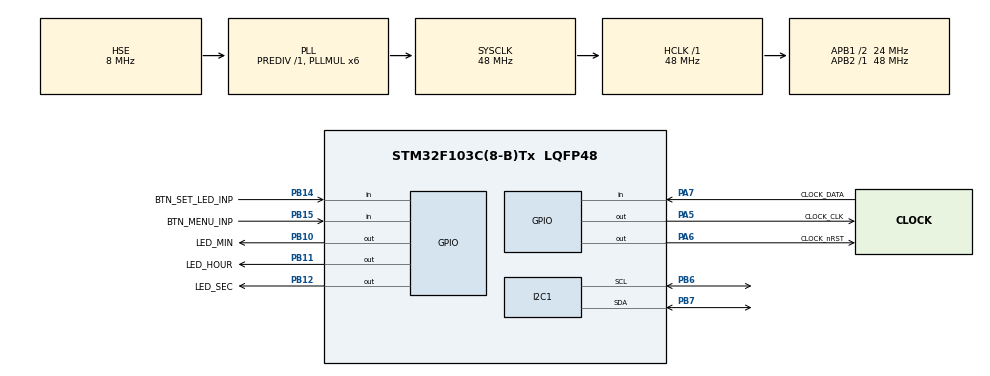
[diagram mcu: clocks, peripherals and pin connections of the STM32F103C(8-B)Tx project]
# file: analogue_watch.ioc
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FREERTOS.BinarySemaphores01=LedsSem,Dynamic,NULL
FREERTOS.Events01=SaveEvent,Dynamic,NULL
FREERTOS.Mutexes01=ClockDataMutex,Dynamic,NULL
FREERTOS.Tasks01=defaultTask,24,128,StartDefaultTask,Default,NULL,Dynamic,NULL,NULL;ClockDealer,9,128,ClockTask,Default,NULL,Static,ClockDealerBuffer,ClockDealerControlBlock;DacDealer,8,128,DacTask,Default,NULL,Static,DacDealerBuffer,DacDealerControlBlock;BtnHandler,8,128,BtnTask,Default,NULL,Static,BtnHandlerBuffer,BtnHandlerControlBlock;LedDealer,8,128,LedTask,Default,NULL,Static,LedDealerBuffer,LedDealerControlBlock;MainTaskName,8,128,MainTask,Default,NULL,Static,MainTaskNameBuffer,MainTaskNameControlBlock
FREERTOS.configMAX_TASK_NAME_LEN=18
FREERTOS.configTOTAL_HEAP_SIZE=5000
FREERTOS.configUSE_NEWLIB_REENTRANT=1
FREERTOS.configUSE_PREEMPTION=1
Mcu.Family=STM32F1
Mcu.Name=STM32F103C(8-B)Tx
Mcu.Package=LQFP48
NVIC.PriorityGroup=NVIC_PRIORITYGROUP_4
NVIC.TIM1_UP_IRQn=true\:15\:0\:false\:false\:true\:false\:false\:true\:true
NVIC.TimeBase=TIM1_UP_IRQn
NVIC.TimeBaseIP=TIM1
PA13.Mode=Serial_Wire
PA13.Signal=SYS_JTMS-SWDIO
PA14.Mode=Serial_Wire
PA14.Signal=SYS_JTCK-SWCLK
PA5.GPIO_Label=CLOCK_CLK
PA5.Signal=GPIO_Output
PA6.GPIO_Label=CLOCK_nRST
PA6.Signal=GPIO_Output
PA7.GPIO_Label=CLOCK_DATA
PA7.Signal=GPIO_Input
PB10.GPIO_Label=LED_MIN
PB10.GPIO_ModeDefaultOutputPP=GPIO_MODE_OUTPUT_OD
PB10.GPIO_PuPd=GPIO_NOPULL
PB10.PinState=GPIO_PIN_SET
PB10.Signal=GPIO_Output
PB11.GPIO_Label=LED_HOUR
PB11.GPIO_ModeDefaultOutputPP=GPIO_MODE_OUTPUT_OD
PB11.GPIO_PuPd=GPIO_NOPULL
PB11.PinState=GPIO_PIN_SET
PB11.Signal=GPIO_Output
PB12.GPIO_Label=LED_SEC
PB12.Signal=GPIO_Output
PB14.GPIO_Label=BTN_SET_LED_INP
PB14.GPIO_PuPd=GPIO_PULLDOWN
PB14.Signal=GPIO_Input
PB15.GPIO_Label=BTN_MENU_INP
PB15.GPIO_PuPd=GPIO_PULLDOWN
PB15.Signal=GPIO_Input
PB6.Mode=I2C
PB6.Signal=I2C1_SCL
PB7.Mode=I2C
PB7.Signal=I2C1_SDA
PD0-OSC_IN.Mode=HSE-External-Oscillator
PD0-OSC_IN.Signal=RCC_OSC_IN
PD1-OSC_OUT.Mode=HSE-External-Oscillator
PD1-OSC_OUT.Signal=RCC_OSC_OUT
ProjectManager.HeapSize=0x200
ProjectManager.StackSize=0x400
ProjectManager.TargetToolchain=STM32CubeIDE
RCC.AHBFreq_Value=48000000
RCC.APB1CLKDivider=RCC_HCLK_DIV2
RCC.APB1Freq_Value=24000000
RCC.APB1TimFreq_Value=48000000
RCC.APB2Freq_Value=48000000
RCC.APB2TimFreq_Value=48000000
RCC.HCLKFreq_Value=48000000
RCC.PLLMUL=RCC_PLL_MUL6
RCC.PLLSourceVirtual=RCC_PLLSOURCE_HSE
RCC.SYSCLKFreq_VALUE=48000000
RCC.SYSCLKSource=RCC_SYSCLKSOURCE_PLLCLK
RCC.USBFreq_Value=48000000
VP_FREERTOS_VS_CMSIS_V2.Mode=CMSIS_V2
VP_IWDG_VS_IWDG.Mode=IWDG_Activate
VP_SYS_VS_tim1.Mode=TIM1
board=custom

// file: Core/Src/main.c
/* USER CODE BEGIN Header */
/**
  ******************************************************************************
  * @file           : main.c
  * @brief          : Main program body
  ******************************************************************************
  * @attention
  *
  * Copyright (c) 2022 STMicroelectronics.
  * All rights reserved.
  *
  * This software is licensed under terms that can be found in the LICENSE file
  * in the root directory of this software component.
  * If no LICENSE file comes with this software, it is provided AS-IS.
  *
  ******************************************************************************
  */
/* USER CODE END Header */
#include "main.h"
#include "cmsis_os.h"

typedef StaticTask_t osStaticThreadDef_t;

/* USER CODE BEGIN PD */

typedef enum MainStates_e{
	INITIAL_STATE,
	REGULAR_STATE,
	HOUR_SETTINGS_STATE,
	MIN_SETTINGS_STATE,
#ifdef DAC_SEC
	SEC_SETTINGS_STATE,
#endif
	TWERK_SETTINGS_STATE,
	FIN_SETTINGS_STATE
}MainStates_e;

typedef struct BtnStruct_t{
	uint8_t btn_led_set;
	uint8_t btn_menu;
}BtnStruct_t;

struct led_t{
	uint8_t status;
	uint8_t blinking;
};

typedef struct led_status_t{
	struct led_t led_hour;
	struct led_t led_min;
	struct led_t led_sec;
}led_status_t;

typedef struct time_data_t{
	uint8_t hours;
	uint8_t mins;
	uint8_t sec;
	uint8_t twerking;
}time_data_t;
/* USER CODE END PD */

 I2C_HandleTypeDef hi2c1;

IWDG_HandleTypeDef hiwdg;

/* Definitions for defaultTask */
osThreadId_t defaultTaskHandle;
const osThreadAttr_t defaultTask_attributes = {
  .name = "defaultTask",
  .stack_size = 128 * 4,
  .priority = (osPriority_t) osPriorityNormal,
};
/* Definitions for ClockDealer */
osThreadId_t ClockDealerHandle;
uint32_t ClockDealerBuffer[ 128 ];
osStaticThreadDef_t ClockDealerControlBlock;
const osThreadAttr_t ClockDealer_attributes = {
  .name = "ClockDealer",
  .cb_mem = &ClockDealerControlBlock,
  .cb_size = sizeof(ClockDealerControlBlock),
  .stack_mem = &ClockDealerBuffer[0],
  .stack_size = sizeof(ClockDealerBuffer),
  .priority = (osPriority_t) osPriorityLow1,
};
/* Definitions for DacDealer */
osThreadId_t DacDealerHandle;
uint32_t DacDealerBuffer[ 128 ];
osStaticThreadDef_t DacDealerControlBlock;
const osThreadAttr_t DacDealer_attributes = {
  .name = "DacDealer",
  .cb_mem = &DacDealerControlBlock,
  .cb_size = sizeof(DacDealerControlBlock),
  .stack_mem = &DacDealerBuffer[0],
  .stack_size = sizeof(DacDealerBuffer),
  .priority = (osPriority_t) osPriorityLow,
};
/* Definitions for BtnHandler */
osThreadId_t BtnHandlerHandle;
uint32_t BtnHandlerBuffer[ 128 ];
osStaticThreadDef_t BtnHandlerControlBlock;
const osThreadAttr_t BtnHandler_attributes = {
  .name = "BtnHandler",
  .cb_mem = &BtnHandlerControlBlock,
  .cb_size = sizeof(BtnHandlerControlBlock),
  .stack_mem = &BtnHandlerBuffer[0],
  .stack_size = sizeof(BtnHandlerBuffer),
  .priority = (osPriority_t) osPriorityLow,
};
/* Definitions for LedDealer */
osThreadId_t LedDealerHandle;
uint32_t LedDealerBuffer[ 128 ];
osStaticThreadDef_t LedDealerControlBlock;
const osThreadAttr_t LedDealer_attributes = {
  .name = "LedDealer",
  .cb_mem = &LedDealerControlBlock,
  .cb_size = sizeof(LedDealerControlBlock),
  .stack_mem = &LedDealerBuffer[0],
  .stack_size = sizeof(LedDealerBuffer),
  .priority = (osPriority_t) osPriorityLow,
};
/* Definitions for MainTaskName */
osThreadId_t MainTaskNameHandle;
uint32_t MainTaskNameBuffer[ 128 ];
osStaticThreadDef_t MainTaskNameControlBlock;
const osThreadAttr_t MainTaskName_attributes = {
  .name = "MainTaskName",
  .cb_mem = &MainTaskNameControlBlock,
  .cb_size = sizeof(MainTaskNameControlBlock),
  .stack_mem = &MainTaskNameBuffer[0],
  .stack_size = sizeof(MainTaskNameBuffer),
  .priority = (osPriority_t) osPriorityLow,
};
/* Definitions for ClockDataMutex */
osMutexId_t ClockDataMutexHandle;
const osMutexAttr_t ClockDataMutex_attributes = {
  .name = "ClockDataMutex"
};
/* Definitions for LedsSem */
osSemaphoreId_t LedsSemHandle;
const osSemaphoreAttr_t LedsSem_attributes = {
  .name = "LedsSem"
};
/* Definitions for SaveEvent */
osEventFlagsId_t SaveEventHandle;
const osEventFlagsAttr_t SaveEvent_attributes = {
  .name = "SaveEvent"
};
/* USER CODE BEGIN PV */
osMessageQueueId_t BtnQueue;
led_status_t g_led_data;
time_data_t *g_dac_current_time;
time_data_t g_editable_time, g_readed_time;

float g_h_delta, g_m_delta, g_s_delta;
/* USER CODE END PV */

void SystemClock_Config(void);
static void MX_GPIO_Init(void);
static void MX_I2C1_Init(void);
static void MX_IWDG_Init(void);
void StartDefaultTask(void *argument);
void ClockTask(void *argument);
void DacTask(void *argument);
void BtnTask(void *argument);
void LedTask(void *argument);
void MainTask(void *argument);

/* USER CODE BEGIN PFP */

//dec cntrl

float time_hours_to_voltage(time_data_t *time){

	static float r = 0.0f;

	if (time->twerking){
		r += 0.01;
		if (r > 0.08f)
			r = -0.08f;
	}else{
		r = 0.0f;
	}

	int data_fitter = 0;
	if (time->hours > 12)
		data_fitter = 12;
	return (float)(r + (float)(g_h_delta * (float)(time->hours - data_fitter)) * VOLTAGE_CORR_COEFF);
}

float time_mins_to_voltage(time_data_t *time){

	static float r = 0.0f;

	if (time->twerking){
		r += 0.01;
		if (r > 0.08f)
			r = -0.08f;
	}
	else{
		r = 0.0f;
	}

	return (float)(r + (float)(g_m_delta * (float)(time->mins)));
}

#ifdef DAC_SEC
float time_secs_to_voltage(time_data_t *time){
	return (float)(g_s_delta * (float)(time->sec));
}
#endif

//time controls

void time_hour_increment(time_data_t *time){
	time->hours++;
	if (time->hours == 13){
		time->hours = 1;
	}
}

void time_min_increment(time_data_t *time){
	time->mins++;
	if (time->mins == 60){
		time->mins = 0;
	}
}

#ifdef DAC_SEC
void time_sec_increment(time_data_t *time){
	time->sec++;
	if (time->sec == 60){
		time->sec = 0;
	}
}
#endif

void time_switch_to_local(void){
	g_dac_current_time = &g_editable_time;
}

void time_switch_to_global(void){
	g_dac_current_time = &g_readed_time;
}

void time_set_readed(time_data_t *time){
	g_readed_time = *time;
}

void time_get_data(time_data_t *time){
	*time = *g_dac_current_time;
}

void time_set_local(time_data_t *time){
	g_editable_time = *time;
}

void time_init(time_data_t *time){
	time->hours = 0;
	time->mins = 0;
	time->sec = 0;
	time->twerking = 0;
}

//led controls

void get_leds_data(led_status_t* led_data){
	*led_data = g_led_data;
}

void set_leds_data(led_status_t* led_data){
	g_led_data = *led_data;
}

void toggle_leds(led_status_t* led_data){
	if (led_data->led_hour.status == 1){
		led_data->led_hour.status = 0;
	}else{
		led_data->led_hour.status = 1;
	}
	if (led_data->led_min.status == 1){
		led_data->led_min.status = 0;
	}else{
		led_data->led_min.status = 1;
	}
#ifdef DAC_SEC
	if (led_data->led_sec.status == 1){
		led_data->led_sec.status = 0;
	}else{
		led_data->led_sec.status = 1;
	}
#endif
}

void init_leds_data(void){
	g_led_data.led_hour.blinking = 0;
	g_led_data.led_hour.status = 0;
	g_led_data.led_min.blinking = 0;
	g_led_data.led_min.status = 0;
#ifdef DAC_SEC
	g_led_data.led_sec.blinking = 0;
	g_led_data.led_sec.status = 0;
#endif
}
/* USER CODE END PFP */

int main(void)
{

  /* MCU Configuration--------------------------------------------------------*/

  /* Reset of all peripherals, Initializes the Flash interface and the Systick. */
  HAL_Init();

  /* Configure the system clock */
  SystemClock_Config();

  /* Initialize all configured peripherals */
  MX_GPIO_Init();
  MX_I2C1_Init();
  MX_IWDG_Init();
  /* USER CODE BEGIN 2 */
  init_leds_data();
  time_init(&g_readed_time);
  time_init(&g_editable_time);

  //get time to data from ds1302
  time_switch_to_global();

  //calc deltas for time-to-voltage functions
  g_h_delta = (float)MAX_VOLTAGE_TO_SHOW/(float)12.0f;
  g_m_delta = (float)MAX_VOLTAGE_TO_SHOW/(float)60.0f;
#ifdef DAC_SEC
  g_s_delta = (float)MAX_VOLTAGE_TO_SHOW/(float)60.0f;
#endif
  HAL_IWDG_Refresh(&hiwdg);

  /* USER CODE END 2 */

  /* Init scheduler */
  osKernelInitialize();
  /* Create the mutex(es) */
  /* creation of ClockDataMutex */
  ClockDataMutexHandle = osMutexNew(&ClockDataMutex_attributes);

  /* Create the semaphores(s) */
  /* creation of LedsSem */
  LedsSemHandle = osSemaphoreNew(1, 1, &LedsSem_attributes);

  /* USER CODE BEGIN RTOS_QUEUES */
  BtnQueue = osMessageQueueNew(4, sizeof(BtnStruct_t), NULL);
  /* add queues, ... */
  /* USER CODE END RTOS_QUEUES */

  /* Create the thread(s) */
  /* creation of defaultTask */
  defaultTaskHandle = osThreadNew(StartDefaultTask, NULL, &defaultTask_attributes);

  /* creation of ClockDealer */
  ClockDealerHandle = osThreadNew(ClockTask, NULL, &ClockDealer_attributes);

  /* creation of DacDealer */
  DacDealerHandle = osThreadNew(DacTask, NULL, &DacDealer_attributes);

  /* creation of BtnHandler */
  BtnHandlerHandle = osThreadNew(BtnTask, NULL, &BtnHandler_attributes);

  /* creation of LedDealer */
  LedDealerHandle = osThreadNew(LedTask, NULL, &LedDealer_attributes);

  /* creation of MainTaskName */
  MainTaskNameHandle = osThreadNew(MainTask, NULL, &MainTaskName_attributes);

  /* creation of SaveEvent */
  SaveEventHandle = osEventFlagsNew(&SaveEvent_attributes);

  /* Start scheduler */
  osKernelStart();

  /* We should never get here as control is now taken by the scheduler */
  /* Infinite loop */
  while (1)
  {

  }
}

void SystemClock_Config(void)
{
  RCC_OscInitTypeDef RCC_OscInitStruct = {0};
  RCC_ClkInitTypeDef RCC_ClkInitStruct = {0};

  /** Initializes the RCC Oscillators according to the specified parameters
  * in the RCC_OscInitTypeDef structure.
  */
  RCC_OscInitStruct.OscillatorType = RCC_OSCILLATORTYPE_LSI|RCC_OSCILLATORTYPE_HSE;
  RCC_OscInitStruct.HSEState = RCC_HSE_ON;
  RCC_OscInitStruct.HSEPredivValue = RCC_HSE_PREDIV_DIV1;
  RCC_OscInitStruct.HSIState = RCC_HSI_ON;
  RCC_OscInitStruct.LSIState = RCC_LSI_ON;
  RCC_OscInitStruct.PLL.PLLState = RCC_PLL_ON;
  RCC_OscInitStruct.PLL.PLLSource = RCC_PLLSOURCE_HSE;
  RCC_OscInitStruct.PLL.PLLMUL = RCC_PLL_MUL6;
  if (HAL_RCC_OscConfig(&RCC_OscInitStruct) != HAL_OK)
  {
    Error_Handler();
  }

  /** Initializes the CPU, AHB and APB buses clocks
  */
  RCC_ClkInitStruct.ClockType = RCC_CLOCKTYPE_HCLK|RCC_CLOCKTYPE_SYSCLK
                              |RCC_CLOCKTYPE_PCLK1|RCC_CLOCKTYPE_PCLK2;
  RCC_ClkInitStruct.SYSCLKSource = RCC_SYSCLKSOURCE_PLLCLK;
  RCC_ClkInitStruct.AHBCLKDivider = RCC_SYSCLK_DIV1;
  RCC_ClkInitStruct.APB1CLKDivider = RCC_HCLK_DIV2;
  RCC_ClkInitStruct.APB2CLKDivider = RCC_HCLK_DIV1;

  if (HAL_RCC_ClockConfig(&RCC_ClkInitStruct, FLASH_LATENCY_1) != HAL_OK)
  {
    Error_Handler();
  }
}

static void MX_I2C1_Init(void)
{

  hi2c1.Instance = I2C1;
  hi2c1.Init.ClockSpeed = 100000;
  hi2c1.Init.DutyCycle = I2C_DUTYCYCLE_2;
  hi2c1.Init.OwnAddress1 = 0;
  hi2c1.Init.AddressingMode = I2C_ADDRESSINGMODE_7BIT;
  hi2c1.Init.DualAddressMode = I2C_DUALADDRESS_DISABLE;
  hi2c1.Init.OwnAddress2 = 0;
  hi2c1.Init.GeneralCallMode = I2C_GENERALCALL_DISABLE;
  hi2c1.Init.NoStretchMode = I2C_NOSTRETCH_DISABLE;
  if (HAL_I2C_Init(&hi2c1) != HAL_OK)
  {
    Error_Handler();
  }

}

static void MX_IWDG_Init(void)
{

  hiwdg.Instance = IWDG;
  hiwdg.Init.Prescaler = IWDG_PRESCALER_4;
  hiwdg.Init.Reload = 4095;
  if (HAL_IWDG_Init(&hiwdg) != HAL_OK)
  {
    Error_Handler();
  }

}

static void MX_GPIO_Init(void)
{
  GPIO_InitTypeDef GPIO_InitStruct = {0};

  /* GPIO Ports Clock Enable */
  __HAL_RCC_GPIOD_CLK_ENABLE();
  __HAL_RCC_GPIOA_CLK_ENABLE();
  __HAL_RCC_GPIOB_CLK_ENABLE();

  /*Configure GPIO pin Output Level */
  HAL_GPIO_WritePin(GPIOA, CLOCK_CLK_Pin|CLOCK_nRST_Pin, GPIO_PIN_RESET);

  /*Configure GPIO pin Output Level */
  HAL_GPIO_WritePin(GPIOB, LED_MIN_Pin|LED_HOUR_Pin, GPIO_PIN_SET);

  /*Configure GPIO pin Output Level */
  HAL_GPIO_WritePin(LED_SEC_GPIO_Port, LED_SEC_Pin, GPIO_PIN_RESET);

  /*Configure GPIO pins : CLOCK_CLK_Pin CLOCK_nRST_Pin */
  GPIO_InitStruct.Pin = CLOCK_CLK_Pin|CLOCK_nRST_Pin;
  GPIO_InitStruct.Mode = GPIO_MODE_OUTPUT_PP;
  GPIO_InitStruct.Pull = GPIO_NOPULL;
  GPIO_InitStruct.Speed = GPIO_SPEED_FREQ_LOW;
  HAL_GPIO_Init(GPIOA, &GPIO_InitStruct);

  /*Configure GPIO pin : CLOCK_DATA_Pin */
  GPIO_InitStruct.Pin = CLOCK_DATA_Pin;
  GPIO_InitStruct.Mode = GPIO_MODE_INPUT;
  GPIO_InitStruct.Pull = GPIO_NOPULL;
  HAL_GPIO_Init(CLOCK_DATA_GPIO_Port, &GPIO_InitStruct);

  /*Configure GPIO pins : LED_MIN_Pin LED_HOUR_Pin */
  GPIO_InitStruct.Pin = LED_MIN_Pin|LED_HOUR_Pin;
  GPIO_InitStruct.Mode = GPIO_MODE_OUTPUT_OD;
  GPIO_InitStruct.Pull = GPIO_NOPULL;
  GPIO_InitStruct.Speed = GPIO_SPEED_FREQ_LOW;
  HAL_GPIO_Init(GPIOB, &GPIO_InitStruct);

  /*Configure GPIO pin : LED_SEC_Pin */
  GPIO_InitStruct.Pin = LED_SEC_Pin;
  GPIO_InitStruct.Mode = GPIO_MODE_OUTPUT_PP;
  GPIO_InitStruct.Pull = GPIO_NOPULL;
  GPIO_InitStruct.Speed = GPIO_SPEED_FREQ_LOW;
  HAL_GPIO_Init(LED_SEC_GPIO_Port, &GPIO_InitStruct);

  /*Configure GPIO pins : BTN_SET_LED_INP_Pin BTN_MENU_INP_Pin */
  GPIO_InitStruct.Pin = BTN_SET_LED_INP_Pin|BTN_MENU_INP_Pin;
  GPIO_InitStruct.Mode = GPIO_MODE_INPUT;
  GPIO_InitStruct.Pull = GPIO_PULLDOWN;
  HAL_GPIO_Init(GPIOB, &GPIO_InitStruct);

}

void StartDefaultTask(void *argument)
{
  /* USER CODE BEGIN 5 */
  /* Infinite loop */
  for(;;)
  {
	//wdg refresh
	HAL_IWDG_Refresh(&hiwdg);
    osDelay(5);
  }
  /* USER CODE END 5 */
}

void ClockTask(void *argument)
{
  /* USER CODE BEGIN ClockTask */
	osStatus_t status;
	uint32_t flag = 0;
	time_data_t l_time_data;
	Time_Struct time;
	led_status_t leds;

	//init ds1302
	DS1302_Init();

	//check saved leds status
	uint8_t ram_data = 0;
	ram_data = DS1302_RamRead(0);

	if ((ram_data & 0x01) == 1){
		leds.led_hour.status = 1;
		leds.led_min.status = 1;
		leds.led_sec.status = 1;
	}
	else if ((ram_data & 0x01) == 0){
		leds.led_hour.status = 0;
		leds.led_min.status = 0;
		leds.led_sec.status = 0;
	}

	//init local time data
	time_init(&l_time_data);

	if ((ram_data >> 1) == 1){
		l_time_data.twerking = 1;
	}
	else if ((ram_data >> 1) == 0){
		l_time_data.twerking = 0;
	}

	status = osMutexAcquire(LedsSemHandle, 0);
	if (status == osOK){
		set_leds_data(&leds);
		osMutexRelease(LedsSemHandle);
	}

	time = DS1302_ReadTime_Struct();

	//if default settings - needs to initialize
	if ((time.hour == 0) && (time.sec == 0) && (time.min == 0) && (time.year == 2000)){
		time.year = 2002;
		time.sec = 5;
		time.isHourClock24 = 0;
		DS1302_SetTime_Struct(&time);
	}

	status = osMutexAcquire(ClockDataMutexHandle, 0);
	if (status == osOK){
		time_set_readed(&l_time_data);
		osMutexRelease(ClockDataMutexHandle);
	}
  /* Infinite loop */
  for(;;)
  {
	//save time to ds1302 if save event happened
	flag = osEventFlagsGet(SaveEventHandle);
	if (flag == 0x01){
		osEventFlagsClear(SaveEventHandle, flag);
		status = osMutexAcquire(ClockDataMutexHandle, 0);
		if (status == osOK){
			time_get_data(&l_time_data);
			time_set_readed(&l_time_data);
			time.hour = l_time_data.hours;
			time.min = l_time_data.mins;

			status = osMutexAcquire(LedsSemHandle, 0);
			if (status == osOK){
				get_leds_data(&leds);
				DS1302_RamSave(0, ((leds.led_hour.status) | (l_time_data.twerking << 1)));
				osMutexRelease(LedsSemHandle);
			}

			DS1302_SetTime_Struct(&time);
			time_switch_to_global();
			osMutexRelease(ClockDataMutexHandle);
		}
	}
	else if (flag == 0x02){
		status = osMutexAcquire(ClockDataMutexHandle, 0);
		if (status == osOK){
			time_get_data(&l_time_data);
			osMutexRelease(ClockDataMutexHandle);
		}
		osEventFlagsClear(SaveEventHandle, flag);
		status = osMutexAcquire(LedsSemHandle, 0);
		if (status == osOK){
			get_leds_data(&leds);
			DS1302_RamSave(0, ((leds.led_hour.status) | (l_time_data.twerking << 1)));
			osMutexRelease(LedsSemHandle);
		}
	}

	//read time from ds1302 and store it to global time data
	time = DS1302_ReadTime_Struct();
	l_time_data.hours = time.hour;
	l_time_data.mins = time.min;
	status = osMutexAcquire(ClockDataMutexHandle, 0);
	if (status == osOK){
		time_set_readed(&l_time_data);
		osMutexRelease(ClockDataMutexHandle);
	}
	osDelay(500);
  }
  /* USER CODE END ClockTask */
}

void DacTask(void *argument)
{
  /* USER CODE BEGIN DacTask */
	MCP4725 l_hours_dac, l_mins_dac, l_secs_dac;
	osStatus_t mutex_request = 0;
	time_data_t l_time_data;

	time_init(&l_time_data);

	//init hour and min DACs
	osKernelLock();
	l_hours_dac = MCP4725_init(&hi2c1, 0x60, 3.3f);
	l_mins_dac  = MCP4725_init(&hi2c1, 0x61, 3.3f);
#ifdef DAC_SEC
	l_secs_dac  = MCP4725_init(&hi2c1, 0x56, 3.3f);
#endif
	osKernelUnlock();
  /* Infinite loop */
  for(;;)
  {

	//try get global time data and update DACs
	mutex_request = osMutexAcquire(ClockDataMutexHandle, 300);
	if (mutex_request == osOK){
		time_get_data(&l_time_data);
		osMutexRelease(ClockDataMutexHandle);
		osKernelLock();
		MCP4725_setVoltage(&l_hours_dac, time_hours_to_voltage(&l_time_data), MCP4725_FAST_MODE, MCP4725_POWER_DOWN_OFF);
		MCP4725_setVoltage(&l_mins_dac, time_mins_to_voltage(&l_time_data), MCP4725_FAST_MODE, MCP4725_POWER_DOWN_OFF);
#ifdef DAC_SEC
		MCP4725_setVoltage(&l_secs_dac, time_secs_to_voltage(&l_time_data), MCP4725_FAST_MODE, MCP4725_POWER_DOWN_OFF);
#endif
		osKernelUnlock();
	}
	osDelay(10);
  }
  /* USER CODE END DacTask */
}

void BtnTask(void *argument)
{
  /* USER CODE BEGIN BtnTask */

	//Reading data from btns with denouncer. Send data to queue if press-action fully completed

	int btn_led_set_cntr = 0, btn_menu_cntr = 0;
	uint8_t btn_menu_hi_state = 0, btn_led_set_hi_state = 0;
	BtnStruct_t l_btn_state = {.btn_led_set = 0, .btn_menu = 0};
	osStatus_t status;
  /* Infinite loop */
  for(;;)
  {
	if (HAL_GPIO_ReadPin(BTN_SET_LED_INP_GPIO_Port, BTN_SET_LED_INP_Pin)){
		if (btn_led_set_hi_state == 0){
			btn_led_set_cntr++;
			if (btn_led_set_cntr > BTN_DEBOUNCER_MS){
				btn_led_set_hi_state = 1;
			}
		}
	}
	else{
		if (btn_led_set_cntr == 0){
			if (btn_led_set_hi_state == 1){
				btn_led_set_hi_state = 0;
				l_btn_state.btn_led_set = 1;
				status = osMessageQueuePut(BtnQueue, &l_btn_state, 0, 0);
				if (status == osOK){
					l_btn_state.btn_led_set = 0;
				}
			}
		}
		else{
			btn_led_set_cntr--;
		}
	}

	if (HAL_GPIO_ReadPin(BTN_MENU_INP_GPIO_Port, BTN_MENU_INP_Pin)){
		if (btn_menu_hi_state == 0){
			btn_menu_cntr++;
			if (btn_menu_cntr > BTN_DEBOUNCER_MS){
				btn_menu_hi_state = 1;
			}
		}
	}
	else{
		if (btn_menu_cntr == 0){
			if (btn_menu_hi_state == 1){
				btn_menu_hi_state = 0;
				l_btn_state.btn_menu = 1;
				status = osMessageQueuePut(BtnQueue, &l_btn_state, 0, 0);
				if (status == osOK){
					l_btn_state.btn_menu = 0;
				}
			}
		}
		else{
			btn_menu_cntr--;
		}
	}
    osDelay(1);
  }
  /* USER CODE END BtnTask */
}

void LedTask(void *argument)
{
  /* USER CODE BEGIN LedTask */

	//Checks leds global statuses and change GPIO states, if needed/ Also could blinks

	led_status_t leds;
	osStatus_t status;
	uint32_t blink_timeout = 0, blink_event = 0, toggle_status = 0;

  /* Infinite loop */
  for(;;)
  {

	status = osSemaphoreAcquire(LedsSemHandle, 300);
	if (status == osOK){
		get_leds_data(&leds);
		osSemaphoreRelease(LedsSemHandle);
	}

	if (blink_timeout > LED_BLINK_TICK_MS_TIMES_10){
		if (toggle_status){
			toggle_status = 0;
		}else
		{
			toggle_status = 1;
		}
		blink_event = 1;
		blink_timeout = 0;
	}
	else{
		blink_event = 0;
		blink_timeout++;
	}

	if (leds.led_hour.status == 1){
		if (leds.led_hour.blinking == 1){
			if (blink_event){
				if (toggle_status){
					HAL_GPIO_WritePin(LED_HOUR_GPIO_Port, LED_HOUR_Pin, GPIO_PIN_SET);
				}
				else{
					HAL_GPIO_WritePin(LED_HOUR_GPIO_Port, LED_HOUR_Pin, GPIO_PIN_RESET);
				}
			}
		}else{
			HAL_GPIO_WritePin(LED_HOUR_GPIO_Port, LED_HOUR_Pin, GPIO_PIN_SET);
		}
	}else{
		HAL_GPIO_WritePin(LED_HOUR_GPIO_Port, LED_HOUR_Pin, GPIO_PIN_RESET);
	}

	if (leds.led_min.status == 1){
		if (leds.led_min.blinking == 1){
			if (blink_event){
				if (toggle_status){
					HAL_GPIO_WritePin(LED_MIN_GPIO_Port, LED_MIN_Pin, GPIO_PIN_SET);
				}
				else{
					HAL_GPIO_WritePin(LED_MIN_GPIO_Port, LED_MIN_Pin, GPIO_PIN_RESET);
				}
			}
		}else{
			HAL_GPIO_WritePin(LED_MIN_GPIO_Port, LED_MIN_Pin, GPIO_PIN_SET);
		}
	}else{
		HAL_GPIO_WritePin(LED_MIN_GPIO_Port, LED_MIN_Pin, GPIO_PIN_RESET);
	}

#ifdef DAC_SEC
	if (leds.led_sec.status == 1){
		if (leds.led_sec.blinking == 1){
			if (sec_timeout < osKernelSysTick()){
				HAL_GPIO_TogglePin(LED_SEC_GPIO_Port, LED_SEC_Pin);
				sec_timeout = osKernelSysTick() + LED_BLINK_TICK;
			}
		}else{
			HAL_GPIO_WritePin(LED_SEC_GPIO_Port, LED_SEC_Pin, GPIO_PIN_SET);
		}
	}else{
		HAL_GPIO_WritePin(LED_SEC_GPIO_Port, LED_SEC_Pin, GPIO_PIN_RESET);
	}
#endif
    osDelay(10);
  }
  /* USER CODE END LedTask */
}

void MainTask(void *argument)
{
  /* USER CODE BEGIN MainTask */

	//Main logic of program
	//TODO: save and restore illumination state settings

	MainStates_e state;
	time_data_t l_time_data;
	led_status_t l_leds, pre_settings_leds;
	BtnStruct_t l_btn_state;

	state = INITIAL_STATE;
	time_init(&l_time_data);

  /* Infinite loop */
  for(;;)
  {
	switch (state){
	case INITIAL_STATE:
	{
		get_leds_data(&l_leds);
		get_leds_data(&pre_settings_leds);
		pre_settings_leds.led_hour.blinking = 1;
		pre_settings_leds.led_min.blinking = 1;
		pre_settings_leds.led_sec.blinking = 1;

		state = REGULAR_STATE;
		break;
	}
	case REGULAR_STATE:
	{
		//Checks btn-messages. if a message has arrived, it checks which one. When a message from the menu button - goes to the settings
		osStatus_t status;
		status = osMessageQueueGet(BtnQueue, &l_btn_state, 0, 300);
		if (status == osOK){

			if (l_btn_state.btn_menu){
				pre_settings_leds.led_hour.status = 1;
				pre_settings_leds.led_hour.blinking = 1;
				pre_settings_leds.led_min.status = 1;
				pre_settings_leds.led_min.blinking = 0;
				status = osSemaphoreAcquire(LedsSemHandle, 0);
				if (status == osOK){
					set_leds_data(&pre_settings_leds);
					osSemaphoreRelease(LedsSemHandle);
				}
				status = osMutexAcquire(ClockDataMutexHandle, 0);
				if (status == osOK){
					//During the time settings, only the local time changes (a copy of the exact time), which is then(FIN_SETTINGS_STATE) written to the ds1302 memory and changes back to the global one (from ds1302)
					time_get_data(&l_time_data);
					time_switch_to_local();
					time_set_local(&l_time_data);
					osMutexRelease(ClockDataMutexHandle);
				}
				state = HOUR_SETTINGS_STATE;

			}else if(l_btn_state.btn_led_set){
				//if led btn pressed, then change leds status and save it to RAM-space at ds1302
				toggle_leds(&l_leds);
				status = osSemaphoreAcquire(LedsSemHandle, 0);
				if (status == osOK){
					osEventFlagsSet(SaveEventHandle, 0x02); //sending flag to store new state at RAM
					set_leds_data(&l_leds);
					osSemaphoreRelease(LedsSemHandle);
				}
			}

		}
		break;
	}
	case HOUR_SETTINGS_STATE:
	{
		//The behavior of the hour, minute and second settings is the same. Checking the buttons and either changing the time or saving it. Also LED status control
		osStatus_t status;
		status = osMessageQueueGet(BtnQueue, &l_btn_state, 0, 300);
		if (status == osOK){
			if (l_btn_state.btn_led_set){
				time_hour_increment(&l_time_data);
				status = osMutexAcquire(ClockDataMutexHandle, 0);
				if (status == osOK){
					time_set_local(&l_time_data);
					osMutexRelease(ClockDataMutexHandle);
				}
			}
			else if (l_btn_state.btn_menu){
				pre_settings_leds.led_hour.status = 1;
				pre_settings_leds.led_hour.blinking = 0;
				pre_settings_leds.led_min.status = 1;
				pre_settings_leds.led_min.blinking = 1;

				status = osSemaphoreAcquire(LedsSemHandle, 0);
				if (status == osOK){
					set_leds_data(&pre_settings_leds);
					osSemaphoreRelease(LedsSemHandle);
				}
				state = MIN_SETTINGS_STATE;
			}
		}
		break;
	}
	case MIN_SETTINGS_STATE:
	{
		osStatus_t status;
		status = osMessageQueueGet(BtnQueue, &l_btn_state, 0, 300);
		if (status == osOK){
			if (l_btn_state.btn_led_set){
				time_min_increment(&l_time_data);
				status = osMutexAcquire(ClockDataMutexHandle, 0);
				if (status == osOK){
					time_set_local(&l_time_data);
					osMutexRelease(ClockDataMutexHandle);
				}
			}
			else if (l_btn_state.btn_menu){

				//reset prev states of leds and lets toggle from ON status
				pre_settings_leds.led_min.status = 1;
				pre_settings_leds.led_hour.status = 1;
				pre_settings_leds.led_min.blinking = 1;
				pre_settings_leds.led_hour.blinking = 1;
#ifdef DAC_SEC
				pre_settings_leds.led_min.status = 0;
				pre_settings_leds.led_hour.status = 0;
				pre_settings_leds.led_sec.status = 1;
				state = SEC_SETTINGS_STATE;
#else
				status = osSemaphoreAcquire(LedsSemHandle, 0);
				if (status == osOK){
					set_leds_data(&pre_settings_leds);
					osSemaphoreRelease(LedsSemHandle);
				}
				state = TWERK_SETTINGS_STATE;
#endif
			}
		}
		break;
	}
#ifdef DAC_SEC
	case SEC_SETTINGS_STATE:
	{
		osStatus_t status;
		status = osMessageQueueGet(BtnQueue, &l_btn_state, 0, 300);
		if (status == osOK){
			if (l_btn_state.btn_led_set){
				time_sec_increment(&l_time_data);
				status = osMutexAcquire(ClockDataMutexHandle, 0);
				if (status == osOK){
					time_set_local(&l_time_data);
					osMutexRelease(ClockDataMutexHandle);
				}
			}
			else if (l_btn_state.btn_menu){
				pre_settings_leds.led_min.status = 1;
				pre_settings_leds.led_hour.status = 1;
				pre_settings_leds.led_sec.status = 1;
				pre_settings_leds.led_min.blinking = 1;
				pre_settings_leds.led_hour.blinking = 1;
				pre_settings_leds.led_sec.blinking = 1;
				status = osSemaphoreAcquire(LedsSemHandle, 0);
				if (status == osOK){
					set_leds_data(&pre_settings_leds);
					osSemaphoreRelease(LedsSemHandle);
				}
				state = TWERK_SETTINGS_STATE;
			}
		}
		break;
	}
#endif
	case TWERK_SETTINGS_STATE:
	{
		osStatus_t status;
		status = osMessageQueueGet(BtnQueue, &l_btn_state, 0, 300);
		if (status == osOK){
			if (l_btn_state.btn_led_set){
				if (l_time_data.twerking){
					l_time_data.twerking = 0;
				}
				else{
					l_time_data.twerking = 1;
				}
				status = osMutexAcquire(ClockDataMutexHandle, 0);
				if (status == osOK){
					time_set_local(&l_time_data);
					osMutexRelease(ClockDataMutexHandle);
				}
			}
			else if (l_btn_state.btn_menu){
				pre_settings_leds.led_min.status = 0;
				pre_settings_leds.led_hour.status = 0;
				pre_settings_leds.led_sec.status = 0;
				status = osSemaphoreAcquire(LedsSemHandle, 0);
				if (status == osOK){
					set_leds_data(&pre_settings_leds);
					osSemaphoreRelease(LedsSemHandle);
				}
				status = osMutexAcquire(ClockDataMutexHandle, 0);
				if (status == osOK){
					time_set_local(&l_time_data);
					osMutexRelease(ClockDataMutexHandle);
				}
				state = FIN_SETTINGS_STATE;
			}
		}
		break;
	}
	case FIN_SETTINGS_STATE:
	{
		//End of settings. The illumination state is restored. The save settings event is set.
		osStatus_t status;
		status = osSemaphoreAcquire(LedsSemHandle, 0);
		if (status == osOK){
			set_leds_data(&l_leds);
			osSemaphoreRelease(LedsSemHandle);
		}

		osEventFlagsSet(SaveEventHandle, 0x01);
		state = REGULAR_STATE;
		break;
	}
	}
    osDelay(10);
  }
  /* USER CODE END MainTask */
}

void HAL_TIM_PeriodElapsedCallback(TIM_HandleTypeDef *htim)
{
  if (htim->Instance == TIM1) {
    HAL_IncTick();
  }
}

void Error_Handler(void)
{
  __disable_irq();
  while (1)
  {
  }
}
